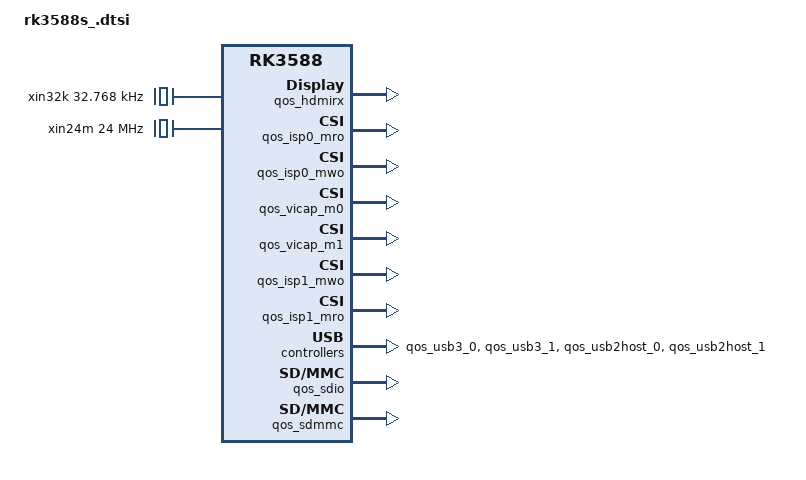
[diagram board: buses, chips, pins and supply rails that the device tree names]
#include <dt-bindings/clock/rk3588-cru.h>
#include <dt-bindings/interrupt-controller/arm-gic.h>
#include <dt-bindings/interrupt-controller/irq.h>
#include <dt-bindings/phy/phy.h>
#include <dt-bindings/power/rk3588-power.h>
#include <dt-bindings/soc/rockchip,boot-mode.h>
#include <dt-bindings/soc/rockchip-system-status.h>
#include <dt-bindings/suspend/rockchip-rk3588.h>
#include <dt-bindings/thermal/thermal.h>

/ {
	compatible = "rockchip,rk3588";

	interrupt-parent = <&gic>;
	#address-cells = <2>;
	#size-cells = <2>;


	cpus {
		#address-cells = <1>;
		#size-cells = <0>;

		cpu-map {
			cluster0 {
				core0 {
					cpu = <&cpu_l0>;
				};
				core1 {
					cpu = <&cpu_l1>;
				};
				core2 {
					cpu = <&cpu_l2>;
				};
				core3 {
					cpu = <&cpu_l3>;
				};
			};
			cluster1 {
				core0 {
					cpu = <&cpu_b0>;
				};
				core1 {
					cpu = <&cpu_b1>;
				};
			};
			cluster2 {
				core0 {
					cpu = <&cpu_b2>;
				};
				core1 {
					cpu = <&cpu_b3>;
				};
			};
		};

		cpu_l0: cpu@0 {
			device_type = "cpu";
			compatible = "arm,cortex-a55";
			reg = <0x0>;
			enable-method = "psci";
			capacity-dmips-mhz = <530>;
			clocks = <&scmi_clk SCMI_CLK_CPUL>;
			//operating-points-v2 = <&cluster0_opp_table>;
			cpu-idle-states = <&CPU_SLEEP>;
			i-cache-size = <32768>;
			i-cache-line-size = <64>;
			i-cache-sets = <128>;
			d-cache-size = <32768>;
			d-cache-line-size = <64>;
			d-cache-sets = <128>;
			next-level-cache = <&l2_cache_l0>;
			#cooling-cells = <2>;
			dynamic-power-coefficient = <100>;
		};

		cpu_l1: cpu@100 {
			device_type = "cpu";
			compatible = "arm,cortex-a55";
			reg = <0x100>;
			enable-method = "psci";
			capacity-dmips-mhz = <530>;
			clocks = <&scmi_clk SCMI_CLK_CPUL>;
			//operating-points-v2 = <&cluster0_opp_table>;
			cpu-idle-states = <&CPU_SLEEP>;
			i-cache-size = <32768>;
			i-cache-line-size = <64>;
			i-cache-sets = <128>;
			d-cache-size = <32768>;
			d-cache-line-size = <64>;
			d-cache-sets = <128>;
			next-level-cache = <&l2_cache_l1>;
		};

		cpu_l2: cpu@200 {
			device_type = "cpu";
			compatible = "arm,cortex-a55";
			reg = <0x200>;
			enable-method = "psci";
			capacity-dmips-mhz = <530>;
			clocks = <&scmi_clk SCMI_CLK_CPUL>;
			//operating-points-v2 = <&cluster0_opp_table>;
			cpu-idle-states = <&CPU_SLEEP>;
			i-cache-size = <32768>;
			i-cache-line-size = <64>;
			i-cache-sets = <128>;
			d-cache-size = <32768>;
			d-cache-line-size = <64>;
			d-cache-sets = <128>;
			next-level-cache = <&l2_cache_l2>;
		};

		cpu_l3: cpu@300 {
			device_type = "cpu";
			compatible = "arm,cortex-a55";
			reg = <0x300>;
			enable-method = "psci";
			capacity-dmips-mhz = <530>;
			clocks = <&scmi_clk SCMI_CLK_CPUL>;
			//operating-points-v2 = <&cluster0_opp_table>;
			cpu-idle-states = <&CPU_SLEEP>;
			i-cache-size = <32768>;
			i-cache-line-size = <64>;
			i-cache-sets = <128>;
			d-cache-size = <32768>;
			d-cache-line-size = <64>;
			d-cache-sets = <128>;
			next-level-cache = <&l2_cache_l3>;
		};

		cpu_b0: cpu@400 {
			device_type = "cpu";
			compatible = "arm,cortex-a76";
			reg = <0x400>;
			enable-method = "psci";
			capacity-dmips-mhz = <1024>;
			clocks = <&scmi_clk SCMI_CLK_CPUB01>;
			//operating-points-v2 = <&cluster1_opp_table>;
			cpu-idle-states = <&CPU_SLEEP>;
			i-cache-size = <65536>;
			i-cache-line-size = <64>;
			i-cache-sets = <256>;
			d-cache-size = <65536>;
			d-cache-line-size = <64>;
			d-cache-sets = <256>;
			next-level-cache = <&l2_cache_b0>;
			#cooling-cells = <2>;
			dynamic-power-coefficient = <300>;
		};

		cpu_b1: cpu@500 {
			device_type = "cpu";
			compatible = "arm,cortex-a76";
			reg = <0x500>;
			enable-method = "psci";
			capacity-dmips-mhz = <1024>;
			clocks = <&scmi_clk SCMI_CLK_CPUB01>;
			//operating-points-v2 = <&cluster1_opp_table>;
			cpu-idle-states = <&CPU_SLEEP>;
			i-cache-size = <65536>;
			i-cache-line-size = <64>;
			i-cache-sets = <256>;
			d-cache-size = <65536>;
			d-cache-line-size = <64>;
			d-cache-sets = <256>;
			next-level-cache = <&l2_cache_b1>;
		};

		cpu_b2: cpu@600 {
			device_type = "cpu";
			compatible = "arm,cortex-a76";
			reg = <0x600>;
			enable-method = "psci";
			capacity-dmips-mhz = <1024>;
			clocks = <&scmi_clk SCMI_CLK_CPUB23>;
			//operating-points-v2 = <&cluster2_opp_table>;
			cpu-idle-states = <&CPU_SLEEP>;
			i-cache-size = <65536>;
			i-cache-line-size = <64>;
			i-cache-sets = <256>;
			d-cache-size = <65536>;
			d-cache-line-size = <64>;
			d-cache-sets = <256>;
			next-level-cache = <&l2_cache_b2>;
			#cooling-cells = <2>;
			dynamic-power-coefficient = <300>;
		};

		cpu_b3: cpu@700 {
			device_type = "cpu";
			compatible = "arm,cortex-a76";
			reg = <0x700>;
			enable-method = "psci";
			capacity-dmips-mhz = <1024>;
			clocks = <&scmi_clk SCMI_CLK_CPUB23>;
			//operating-points-v2 = <&cluster2_opp_table>;
			cpu-idle-states = <&CPU_SLEEP>;
			i-cache-size = <65536>;
			i-cache-line-size = <64>;
			i-cache-sets = <256>;
			d-cache-size = <65536>;
			d-cache-line-size = <64>;
			d-cache-sets = <256>;
			next-level-cache = <&l2_cache_b3>;
		};

		idle-states {
			entry-method = "psci";
			CPU_SLEEP: cpu-sleep {
				compatible = "arm,idle-state";
				local-timer-stop;
				arm,psci-suspend-param = <0x0010000>;
				entry-latency-us = <100>;
				exit-latency-us = <120>;
				min-residency-us = <1000>;
			};
		};

		l2_cache_l0: l2-cache-l0 {
			compatible = "cache";
			cache-size = <131072>;
			cache-line-size = <64>;
			cache-sets = <512>;
			next-level-cache = <&l3_cache>;
		};

		l2_cache_l1: l2-cache-l1 {
			compatible = "cache";
			cache-size = <131072>;
			cache-line-size = <64>;
			cache-sets = <512>;
			next-level-cache = <&l3_cache>;
		};

		l2_cache_l2: l2-cache-l2 {
			compatible = "cache";
			cache-size = <131072>;
			cache-line-size = <64>;
			cache-sets = <512>;
			next-level-cache = <&l3_cache>;
		};

		l2_cache_l3: l2-cache-l3 {
			compatible = "cache";
			cache-size = <131072>;
			cache-line-size = <64>;
			cache-sets = <512>;
			next-level-cache = <&l3_cache>;
		};

		l2_cache_b0: l2-cache-b0 {
			compatible = "cache";
			cache-size = <524288>;
			cache-line-size = <64>;
			cache-sets = <1024>;
			next-level-cache = <&l3_cache>;
		};

		l2_cache_b1: l2-cache-b1 {
			compatible = "cache";
			cache-size = <524288>;
			cache-line-size = <64>;
			cache-sets = <1024>;
			next-level-cache = <&l3_cache>;
		};

		l2_cache_b2: l2-cache-b2 {
			compatible = "cache";
			cache-size = <524288>;
			cache-line-size = <64>;
			cache-sets = <1024>;
			next-level-cache = <&l3_cache>;
		};

		l2_cache_b3: l2-cache-b3 {
			compatible = "cache";
			cache-size = <524288>;
			cache-line-size = <64>;
			cache-sets = <1024>;
			next-level-cache = <&l3_cache>;
		};

		l3_cache: l3-cache {
			compatible = "cache";
			cache-size = <3145728>;
			cache-line-size = <64>;
			cache-sets = <4096>;
		};
	};

	clocks {
		compatible = "simple-bus";
		#address-cells = <2>;
		#size-cells = <2>;
		ranges;

		spll: spll {
			compatible = "fixed-clock";
			#clock-cells = <0>;
			clock-frequency = <702000000>;
			clock-output-names = "spll";
		};

		xin32k: xin32k {
			compatible = "fixed-clock";
			#clock-cells = <0>;
			clock-frequency = <32768>;
			clock-output-names = "xin32k";
		};

		xin24m: xin24m {
			compatible = "fixed-clock";
			#clock-cells = <0>;
			clock-frequency = <24000000>;
			clock-output-names = "xin24m";
		};

		//hclk_vo1: hclk_vo1@fd7c08ec {
		//	compatible = "rockchip,rk3588-clock-gate-link";
		//	reg = <0 0xfd7c08ec 0 0x10>;
		//	clock-names = "link";
		//	clocks = <&cru HCLK_VO1USB_TOP_ROOT>;
		//	#power-domain-cells = <1>;
		//	#clock-cells = <0>;
		//};
		//
		//hclk_vo0: hclk_vo0@fd7c08dc {
		//	compatible = "rockchip,rk3588-clock-gate-link";
		//	reg = <0 0xfd7c08dc 0 0x10>;
		//	clock-names = "link";
		//	clocks = <&cru HCLK_VOP_ROOT>;
		//	#power-domain-cells = <1>;
		//	#clock-cells = <0>;
		//};
		//
		//aclk_hdcp0_pre: aclk_hdcp0_pre@fd7c08dc {
		//	compatible = "rockchip,rk3588-clock-gate-link";
		//	reg = <0 0xfd7c08dc 0 0x10>;
		//	clock-names = "link";
		//	clocks = <&cru ACLK_VOP_LOW_ROOT>;
		//	#power-domain-cells = <1>;
		//	#clock-cells = <0>;
		//};
		//
		//aclk_hdcp1_pre: aclk_hdcp1_pre@fd7c08ec {
		//	compatible = "rockchip,rk3588-clock-gate-link";
		//	reg = <0 0xfd7c08ec 0 0x10>;
		//	clock-names = "link";
		//	clocks = <&cru ACLK_VO1USB_TOP_ROOT>;
		//	#power-domain-cells = <1>;
		//	#clock-cells = <0>;
		//};
	};

	timer {
		compatible = "arm,armv8-timer";
		interrupts = <GIC_PPI 13 (GIC_CPU_MASK_SIMPLE(4) | IRQ_TYPE_LEVEL_HIGH)>,
			     <GIC_PPI 14 (GIC_CPU_MASK_SIMPLE(4) | IRQ_TYPE_LEVEL_HIGH)>,
			     <GIC_PPI 11 (GIC_CPU_MASK_SIMPLE(4) | IRQ_TYPE_LEVEL_HIGH)>,
			     <GIC_PPI 10 (GIC_CPU_MASK_SIMPLE(4) | IRQ_TYPE_LEVEL_HIGH)>;
	};

//	rktimer: timer@feae0000 {
//		compatible = "rockchip,rk3588-timer", "rockchip,rk3288-timer";
//		reg = <0x0 0xfeae0000 0x0 0x20>;
//		interrupts = <GIC_SPI 289 IRQ_TYPE_LEVEL_HIGH>;
//		clocks = <&cru PCLK_BUSTIMER0>, <&cru CLK_BUSTIMER0>;
//		clock-names = "pclk", "timer";
//	};

	psci {
		compatible = "arm,psci-1.0";
		method = "smc";
	};

	sram@10f000 {
		compatible = "mmio-sram";
		reg = <0x0 0x0010f000 0x0 0x100>;
		#address-cells = <1>;
		#size-cells = <1>;
		ranges = <0 0x0 0x0010f000 0x100>;

		scmi_shmem: sram@0 {
			compatible = "arm,scmi-shmem";
			reg = <0x0 0x100>;
		};
	};

	firmware {
		scmi: scmi {
			compatible = "arm,scmi-smc";
			shmem = <&scmi_shmem>;
			arm,smc-id = <0x82000010>;
			#address-cells = <1>;
			#size-cells = <0>;

			scmi_clk: protocol@14 {
				reg = <0x14>;
				#clock-cells = <1>;

				assigned-clocks = <&scmi_clk SCMI_CLK_CPUL>,
						  <&scmi_clk SCMI_CLK_CPUB01>,
						  <&scmi_clk SCMI_CLK_CPUB23>;
				assigned-clock-rates = <816000000>,
						       <816000000>,
						       <816000000>;
			};

			scmi_reset: protocol@16 {
				reg = <0x16>;
				#reset-cells = <1>;
			};
		};

		sdei: sdei {
			compatible = "arm,sdei-1.0";
			method = "smc";
		};
	};

	ioc: syscon@fd5f0000 {
		compatible = "rockchip,rk3588-ioc", "syscon";
		reg = <0x0 0xfd5f0000 0x0 0x10000>;
	};

	php_grf: syscon@fd5b0000 {
		compatible = "rockchip,rk3588-php-grf", "syscon";
		reg = <0x0 0xfd5b0000 0x0 0x1000>;
	};

	qos_npu0_mwr: qos@fdf72000 {
		compatible = "syscon";
		reg = <0x0 0xfdf72000 0x0 0x20>;
	};
	qos_npu0_mro: qos@fdf72200 {
		compatible = "syscon";
		reg = <0x0 0xfdf72200 0x0 0x20>;
	};
	qos_mcu_npu: qos@fdf72400 {
		compatible = "syscon";
		reg = <0x0 0xfdf72400 0x0 0x20>;
	};
	qos_npu1: qos@fdf70000 {
		compatible = "syscon";
		reg = <0x0 0xfdf70000 0x0 0x20>;
	};
	qos_npu2: qos@fdf71000 {
		compatible = "syscon";
		reg = <0x0 0xfdf71000 0x0 0x20>;
	};
	qos_gpu_m0: qos@fdf35000 {
		compatible = "syscon";
		reg = <0x0 0xfdf35000 0x0 0x20>;
	};
	qos_gpu_m1: qos@fdf35200 {
		compatible = "syscon";
		reg = <0x0 0xfdf35200 0x0 0x20>;
	};
	qos_gpu_m2: qos@fdf35400 {
		compatible = "syscon";
		reg = <0x0 0xfdf35400 0x0 0x20>;
	};
	qos_gpu_m3: qos@fdf35600 {
		compatible = "syscon";
		reg = <0x0 0xfdf35600 0x0 0x20>;
	};
	qos_rkvdec0: qos@fdf62000 {
		compatible = "syscon";
		reg = <0x0 0xfdf62000 0x0 0x20>;
	};
	qos_rkvdec1: qos@fdf63000 {
		compatible = "syscon";
		reg = <0x0 0xfdf63000 0x0 0x20>;
	};
	qos_rkvenc0_m0ro: qos@fdf60000 {
		compatible = "syscon";
		reg = <0x0 0xfdf60000 0x0 0x20>;
	};
	qos_rkvenc0_m1ro: qos@fdf60200 {
		compatible = "syscon";
		reg = <0x0 0xfdf60200 0x0 0x20>;
	};
	qos_rkvenc0_m2wo: qos@fdf60400 {
		compatible = "syscon";
		reg = <0x0 0xfdf60400 0x0 0x20>;
	};
	qos_rkvenc1_m0ro: qos@fdf61000 {
		compatible = "syscon";
		reg = <0x0 0xfdf61000 0x0 0x20>;
	};
	qos_rkvenc1_m1ro: qos@fdf61200 {
		compatible = "syscon";
		reg = <0x0 0xfdf61200 0x0 0x20>;
	};
	qos_rkvenc1_m2wo: qos@fdf61400 {
		compatible = "syscon";
		reg = <0x0 0xfdf61400 0x0 0x20>;
	};
	qos_iep: qos@fdf66000 {
		compatible = "syscon";
		reg = <0x0 0xfdf66000 0x0 0x20>;
	};
	qos_jpeg_dec: qos@fdf66200 {
		compatible = "syscon";
		reg = <0x0 0xfdf66200 0x0 0x20>;
	};
	qos_jpeg_enc0: qos@fdf66400 {
		compatible = "syscon";
		reg = <0x0 0xfdf66400 0x0 0x20>;
	};
	qos_jpeg_enc1: qos@fdf66600 {
		compatible = "syscon";
		reg = <0x0 0xfdf66600 0x0 0x20>;
	};
	qos_jpeg_enc2: qos@fdf66800 {
		compatible = "syscon";
		reg = <0x0 0xfdf66800 0x0 0x20>;
	};
	qos_jpeg_enc3: qos@fdf66a00 {
		compatible = "syscon";
		reg = <0x0 0xfdf66a00 0x0 0x20>;
	};
	qos_rga2_mro: qos@fdf66c00 {
		compatible = "syscon";
		reg = <0x0 0xfdf66c00 0x0 0x20>;
	};
	qos_rga2_mwo: qos@fdf66e00 {
		compatible = "syscon";
		reg = <0x0 0xfdf66e00 0x0 0x20>;
	};
	qos_av1: qos@fdf64000 {
		compatible = "syscon";
		reg = <0x0 0xfdf64000 0x0 0x20>;
	};
	qos_rga3_0: qos@fdf67000 {
		compatible = "syscon";
		reg = <0x0 0xfdf67000 0x0 0x20>;
	};
	qos_vop_m0: qos@fdf82000 {
		compatible = "syscon";
		reg = <0x0 0xfdf82000 0x0 0x20>;
	};
	qos_vop_m1: qos@fdf82200 {
		compatible = "syscon";
		reg = <0x0 0xfdf82200 0x0 0x20>;
	};
	qos_hdcp0: qos@fdf80000 {
		compatible = "syscon";
		reg = <0x0 0xfdf80000 0x0 0x20>;
	};
	qos_hdcp1: qos@fdf81000 {
		compatible = "syscon";
		reg = <0x0 0xfdf81000 0x0 0x20>;
	};
	qos_hdmirx: qos@fdf81200 {
		compatible = "syscon";
		reg = <0x0 0xfdf81200 0x0 0x20>;
	};
	qos_isp0_mro: qos@fdf40400 {
		compatible = "syscon";
		reg = <0x0 0xfdf40400 0x0 0x20>;
	};
	qos_isp0_mwo: qos@fdf40500 {
		compatible = "syscon";
		reg = <0x0 0xfdf40500 0x0 0x20>;
	};
	qos_vicap_m0: qos@fdf40600 {
		compatible = "syscon";
		reg = <0x0 0xfdf40600 0x0 0x20>;
	};
	qos_vicap_m1: qos@fdf40800 {
		compatible = "syscon";
		reg = <0x0 0xfdf40800 0x0 0x20>;
	};
	qos_isp1_mwo: qos@fdf41000 {
		compatible = "syscon";
		reg = <0x0 0xfdf41000 0x0 0x20>;
	};
	qos_isp1_mro: qos@fdf41100 {
		compatible = "syscon";
		reg = <0x0 0xfdf41100 0x0 0x20>;
	};
	qos_fisheye0: qos@fdf40000 {
		compatible = "syscon";
		reg = <0x0 0xfdf40000 0x0 0x20>;
	};
	qos_fisheye1: qos@fdf40200 {
		compatible = "syscon";
		reg = <0x0 0xfdf40200 0x0 0x20>;
	};
	qos_rga3_1: qos@fdf36000 {
		compatible = "syscon";
		reg = <0x0 0xfdf36000 0x0 0x20>;
	};
	qos_usb3_0: qos@fdf3e200 {
		compatible = "syscon";
		reg = <0x0 0xfdf3e200 0x0 0x20>;
	};
	qos_usb3_1: qos@fdf3e000 {
		compatible = "syscon";
		reg = <0x0 0xfdf3e000 0x0 0x20>;
	};
	qos_usb2host_0: qos@fdf3e400 {
		compatible = "syscon";
		reg = <0x0 0xfdf3e400 0x0 0x20>;
	};
	qos_usb2host_1: qos@fdf3e600 {
		compatible = "syscon";
		reg = <0x0 0xfdf3e600 0x0 0x20>;
	};
	qos_sdio: qos@fdf39000 {
		compatible = "syscon";
		reg = <0x0 0xfdf39000 0x0 0x20>;
	};
	qos_sdmmc: qos@fdf3d800 {
		compatible = "syscon";
		reg = <0x0 0xfdf3d800 0x0 0x20>;
	};

	gic: interrupt-controller@fe600000 {
		compatible = "arm,gic-v3";
		#interrupt-cells = <3>;
		#address-cells = <2>;
		#size-cells = <2>;
		ranges;
		interrupt-controller;

		reg = <0x0 0xfe600000 0 0x10000>, /* GICD */
		      <0x0 0xfe680000 0 0x100000>; /* GICR */
		interrupts = <GIC_PPI 9 IRQ_TYPE_LEVEL_HIGH>;
		its0: msi-controller@fe640000 {
			compatible = "arm,gic-v3-its";
			msi-controller;
			#msi-cells = <1>;
			reg = <0x0 0xfe640000 0x0 0x20000>;
		};
		its1: msi-controller@fe660000 {
			compatible = "arm,gic-v3-its";
			msi-controller;
			#msi-cells = <1>;
			reg = <0x0 0xfe660000 0x0 0x20000>;
		};
	};

	cru: clock-controller@fd7c0000 {
		compatible = "rockchip,rk3588-cru";
		reg = <0x0 0xfd7c0000 0x0 0x5c000>;
		rockchip,grf = <&php_grf>;
		#clock-cells = <1>;
		#reset-cells = <1>;

		assigned-clocks =
			<&cru PLL_PPLL>, <&cru PLL_AUPLL>,
			<&cru PLL_NPLL>, <&cru PLL_GPLL>,
			<&cru ACLK_CENTER_ROOT>,
			<&cru HCLK_CENTER_ROOT>, <&cru ACLK_CENTER_LOW_ROOT>,
			<&cru ACLK_TOP_ROOT>, <&cru PCLK_TOP_ROOT>,
			<&cru ACLK_LOW_TOP_ROOT>, <&cru PCLK_PMU0_ROOT>,
			<&cru HCLK_PMU_CM0_ROOT>, <&cru ACLK_VOP>,
			<&cru ACLK_BUS_ROOT>, <&cru CLK_150M_SRC>,
			<&cru CLK_GPU>;
		assigned-clock-rates =
			<1104000000>, <786432000>,
			<850000000>, <1188000000>,
			<702000000>,
			<400000000>, <500000000>,
			<800000000>, <100000000>,
			<400000000>, <100000000>,
			<200000000>, <500000000>,
			<375000000>, <150000000>,
			<200000000>;
	};

	pmu: power-management@fd8d8000 {
		compatible = "rockchip,rk3588-pmu", "syscon", "simple-mfd";
		reg = <0x0 0xfd8d8000 0x0 0x400>;

		power: power-controller {
			compatible = "rockchip,rk3588-power-controller";
			#power-domain-cells = <1>;
			#address-cells = <1>;
			#size-cells = <0>;
			status = "okay";

			/* These power domains are grouped by VD_NPU */
			power-domain@RK3588_PD_NPU {
				reg = <RK3588_PD_NPU>;
				#address-cells = <1>;
				#size-cells = <0>;

				power-domain@RK3588_PD_NPUTOP {
					reg = <RK3588_PD_NPUTOP>;
					#address-cells = <1>;
					#size-cells = <0>;
					clocks = <&cru HCLK_NPU_ROOT>,
						 <&cru PCLK_NPU_ROOT>,
						 <&cru CLK_NPU_DSU0>,
						 <&cru HCLK_NPU_CM0_ROOT>;
					pm_qos = <&qos_npu0_mwr>,
						 <&qos_npu0_mro>,
						 <&qos_mcu_npu>;

					power-domain@RK3588_PD_NPU1 {
						reg = <RK3588_PD_NPU1>;
						clocks = <&cru HCLK_NPU_ROOT>,
							 <&cru PCLK_NPU_ROOT>,
							 <&cru CLK_NPU_DSU0>;
						pm_qos = <&qos_npu1>;
					};
					power-domain@RK3588_PD_NPU2 {
						reg = <RK3588_PD_NPU2>;
						clocks = <&cru HCLK_NPU_ROOT>,
							 <&cru PCLK_NPU_ROOT>,
							 <&cru CLK_NPU_DSU0>;
						pm_qos = <&qos_npu2>;
					};
				};
			};
			/* These power domains are grouped by VD_GPU */
			power-domain@RK3588_PD_GPU {
				reg = <RK3588_PD_GPU>;
				clocks = <&cru CLK_GPU>,
					 <&cru CLK_GPU_COREGROUP>,
					 <&cru CLK_GPU_STACKS>;
				pm_qos = <&qos_gpu_m0>,
					 <&qos_gpu_m1>,
					 <&qos_gpu_m2>,
					 <&qos_gpu_m3>;
			};
			/* These power domains are grouped by VD_VCODEC */
			power-domain@RK3588_PD_VCODEC {
				reg = <RK3588_PD_VCODEC>;
				#address-cells = <1>;
				#size-cells = <0>;

				power-domain@RK3588_PD_RKVDEC0 {
					reg = <RK3588_PD_RKVDEC0>;
					clocks = <&cru HCLK_RKVDEC0>,
						 <&cru HCLK_VDPU_ROOT>,
						 <&cru ACLK_VDPU_ROOT>,
						 <&cru ACLK_RKVDEC0>,
						 <&cru ACLK_RKVDEC_CCU>;
					pm_qos = <&qos_rkvdec0>;
				};
				power-domain@RK3588_PD_RKVDEC1 {
					reg = <RK3588_PD_RKVDEC1>;
					clocks = <&cru HCLK_RKVDEC1>,
						 <&cru HCLK_VDPU_ROOT>,
						 <&cru ACLK_VDPU_ROOT>,
						 <&cru ACLK_RKVDEC1>;
					pm_qos = <&qos_rkvdec1>;
				};
				power-domain@RK3588_PD_VENC0 {
					reg = <RK3588_PD_VENC0>;
					#address-cells = <1>;
					#size-cells = <0>;
					clocks = <&cru HCLK_RKVENC0>,
						 <&cru ACLK_RKVENC0>;
					pm_qos = <&qos_rkvenc0_m0ro>,
						 <&qos_rkvenc0_m1ro>,
						 <&qos_rkvenc0_m2wo>;

					power-domain@RK3588_PD_VENC1 {
						reg = <RK3588_PD_VENC1>;
						clocks = <&cru HCLK_RKVENC1>,
							 <&cru HCLK_RKVENC0>,
							 <&cru ACLK_RKVENC0>,
							 <&cru ACLK_RKVENC1>;
						pm_qos = <&qos_rkvenc1_m0ro>,
							 <&qos_rkvenc1_m1ro>,
							 <&qos_rkvenc1_m2wo>;
					};
				};
			};
			/* These power domains are grouped by VD_LOGIC */
			power-domain@RK3588_PD_VDPU {
				reg = <RK3588_PD_VDPU>;
				#address-cells = <1>;
				#size-cells = <0>;
				clocks = <&cru HCLK_VDPU_ROOT>,
					 <&cru ACLK_VDPU_LOW_ROOT>,
					 <&cru ACLK_VDPU_ROOT>,
					 <&cru ACLK_JPEG_DECODER_ROOT>,
					 <&cru ACLK_IEP2P0>,
					 <&cru HCLK_IEP2P0>,
					 <&cru ACLK_JPEG_ENCODER0>,
					 <&cru HCLK_JPEG_ENCODER0>,
					 <&cru ACLK_JPEG_ENCODER1>,
					 <&cru HCLK_JPEG_ENCODER1>,
					 <&cru ACLK_JPEG_ENCODER2>,
					 <&cru HCLK_JPEG_ENCODER2>,
					 <&cru ACLK_JPEG_ENCODER3>,
					 <&cru HCLK_JPEG_ENCODER3>,
					 <&cru ACLK_JPEG_DECODER>,
					 <&cru HCLK_JPEG_DECODER>,
					 <&cru ACLK_RGA2>,
					 <&cru HCLK_RGA2>;
				pm_qos = <&qos_iep>,
					 <&qos_jpeg_dec>,
					 <&qos_jpeg_enc0>,
					 <&qos_jpeg_enc1>,
					 <&qos_jpeg_enc2>,
					 <&qos_jpeg_enc3>,
					 <&qos_rga2_mro>,
					 <&qos_rga2_mwo>;

				power-domain@RK3588_PD_AV1 {
					reg = <RK3588_PD_AV1>;
					clocks = <&cru PCLK_AV1>,
						 <&cru ACLK_AV1>,
						 <&cru HCLK_VDPU_ROOT>;
					pm_qos = <&qos_av1>;
				};
				power-domain@RK3588_PD_RKVDEC0 {
					reg = <RK3588_PD_RKVDEC0>;
					clocks = <&cru HCLK_RKVDEC0>,
						 <&cru HCLK_VDPU_ROOT>,
						 <&cru ACLK_VDPU_ROOT>,
						 <&cru ACLK_RKVDEC0>;
					pm_qos = <&qos_rkvdec0>;
				};
				power-domain@RK3588_PD_RKVDEC1 {
					reg = <RK3588_PD_RKVDEC1>;
					clocks = <&cru HCLK_RKVDEC1>,
						 <&cru HCLK_VDPU_ROOT>,
						 <&cru ACLK_VDPU_ROOT>;
					pm_qos = <&qos_rkvdec1>;
				};
				power-domain@RK3588_PD_RGA30 {
					reg = <RK3588_PD_RGA30>;
					clocks = <&cru ACLK_RGA3_0>,
						 <&cru HCLK_RGA3_0>;
					pm_qos = <&qos_rga3_0>;
				};
			};
			//power-domain@RK3588_PD_VOP {
			//	reg = <RK3588_PD_VOP>;
			//	#address-cells = <1>;
			//	#size-cells = <0>;
			//	clocks = <&cru PCLK_VOP_ROOT>,
			//		 <&cru HCLK_VOP_ROOT>,
			//		 <&cru ACLK_VOP>;
			//	pm_qos = <&qos_vop_m0>,
			//		 <&qos_vop_m1>;
			//
			//	power-domain@RK3588_PD_VO0 {
			//		reg = <RK3588_PD_VO0>;
			//		clocks = <&cru PCLK_VO0_ROOT>,
			//			 <&cru PCLK_VO0_S_ROOT>,
			//			 <&cru HCLK_VO0_S_ROOT>,
			//			 <&cru ACLK_VO0_ROOT>,
			//			 <&cru HCLK_HDCP0>,
			//			 <&cru ACLK_HDCP0>,
			//			 <&cru HCLK_VOP_ROOT>;
			//		pm_qos = <&qos_hdcp0>;
			//	};
			//};
			//power-domain@RK3588_PD_VO1 {
			//	reg = <RK3588_PD_VO1>;
			//	clocks = <&cru PCLK_VO1_ROOT>,
			//		 <&cru PCLK_VO1_S_ROOT>,
			//		 <&cru HCLK_VO1_S_ROOT>,
			//		 <&cru HCLK_HDCP1>,
			//		 <&cru ACLK_HDCP1>,
			//		 <&cru ACLK_HDMIRX_ROOT>,
			//		 <&cru HCLK_VO1USB_TOP_ROOT>;
			//	pm_qos = <&qos_hdcp1>,
			//		 <&qos_hdmirx>;
			//};
			power-domain@RK3588_PD_VI {
				reg = <RK3588_PD_VI>;
				#address-cells = <1>;
				#size-cells = <0>;
				clocks = <&cru HCLK_VI_ROOT>,
					 <&cru PCLK_VI_ROOT>,
					 <&cru HCLK_ISP0>,
					 <&cru ACLK_ISP0>,
					 <&cru HCLK_VICAP>,
					 <&cru ACLK_VICAP>;
				pm_qos = <&qos_isp0_mro>,
					 <&qos_isp0_mwo>,
					 <&qos_vicap_m0>,
					 <&qos_vicap_m1>;

				power-domain@RK3588_PD_ISP1 {
					reg = <RK3588_PD_ISP1>;
					clocks = <&cru HCLK_ISP1>,
						 <&cru ACLK_ISP1>,
						 <&cru HCLK_VI_ROOT>,
						 <&cru PCLK_VI_ROOT>;
					pm_qos = <&qos_isp1_mwo>,
						 <&qos_isp1_mro>;
				};
				power-domain@RK3588_PD_FEC {
					reg = <RK3588_PD_FEC>;
					clocks = <&cru HCLK_FISHEYE0>,
						 <&cru ACLK_FISHEYE0>,
						 <&cru HCLK_FISHEYE1>,
						 <&cru ACLK_FISHEYE1>,
						 <&cru PCLK_VI_ROOT>;
					pm_qos = <&qos_fisheye0>,
						 <&qos_fisheye1>;
				};
			};
			power-domain@RK3588_PD_RGA31 {
				reg = <RK3588_PD_RGA31>;
				clocks = <&cru HCLK_RGA3_1>,
					 <&cru ACLK_RGA3_1>;
				pm_qos = <&qos_rga3_1>;
			};
			power-domain@RK3588_PD_USB {
				reg = <RK3588_PD_USB>;
				clocks = <&cru PCLK_PHP_ROOT>,
					 <&cru ACLK_USB_ROOT>,
					 <&cru HCLK_USB_ROOT>,
					 <&cru HCLK_HOST0>,
					 <&cru HCLK_HOST_ARB0>,
					 <&cru HCLK_HOST1>,
					 <&cru HCLK_HOST_ARB1>;
				pm_qos = <&qos_usb3_0>,
					 <&qos_usb3_1>,
					 <&qos_usb2host_0>,
					 <&qos_usb2host_1>;
			};
			power-domain@RK3588_PD_GMAC {
				reg = <RK3588_PD_GMAC>;
				clocks = <&cru PCLK_PHP_ROOT>,
					 <&cru ACLK_PCIE_ROOT>,
					 <&cru ACLK_PHP_ROOT>;
			};
			power-domain@RK3588_PD_PCIE {
				reg = <RK3588_PD_PCIE>;
				clocks = <&cru PCLK_PHP_ROOT>,
					 <&cru ACLK_PCIE_ROOT>,
					 <&cru ACLK_PHP_ROOT>;
			};
			power-domain@RK3588_PD_SDIO {
				reg = <RK3588_PD_SDIO>;
				clocks = <&cru HCLK_SDIO>,
					 <&cru HCLK_NVM_ROOT>;
				pm_qos = <&qos_sdio>;
			};
			power-domain@RK3588_PD_AUDIO {
				reg = <RK3588_PD_AUDIO>;
				clocks = <&cru HCLK_AUDIO_ROOT>,
					 <&cru PCLK_AUDIO_ROOT>;
			};
			power-domain@RK3588_PD_SDMMC {
				reg = <RK3588_PD_SDMMC>;
				pm_qos = <&qos_sdmmc>;
			};
		};
	};

	uart2: serial@feb50000 {
		compatible = "rockchip,rk3588-uart", "snps,dw-apb-uart";
		reg = <0x0 0xfeb50000 0x0 0x100>;
		interrupts = <GIC_SPI 333 IRQ_TYPE_LEVEL_HIGH>;
		clocks = <&cru SCLK_UART2>, <&cru PCLK_UART2>;
		clock-names = "baudclk", "apb_pclk";
		reg-shift = <2>;
		reg-io-width = <4>;
//		dmas = <&dmac0 10>, <&dmac0 11>;
		pinctrl-names = "default";
		pinctrl-0 = <&uart2m1_xfer>;
		status = "disabled";
	};

	sdmmc: mmc@fe2c0000 {
		compatible = "rockchip,rk3588-dw-mshc", "rockchip,rk3288-dw-mshc";
		reg = <0x0 0xfe2c0000 0x0 0x4000>;
		interrupts = <GIC_SPI 203 IRQ_TYPE_LEVEL_HIGH>;
		clocks = <&scmi_clk SCMI_HCLK_SD>, <&scmi_clk SCMI_CCLK_SD>,
			 <&cru SCLK_SDMMC_DRV>, <&cru SCLK_SDMMC_SAMPLE>;
		clock-names = "biu", "ciu", "ciu-drive", "ciu-sample";
		fifo-depth = <0x100>;
		max-frequency = <200000000>;
		pinctrl-names = "default";
		pinctrl-0 = <&sdmmc_clk &sdmmc_cmd &sdmmc_det &sdmmc_bus4>;
		power-domains = <&power RK3588_PD_SDMMC>;
		status = "disabled";
	};

	pinctrl: pinctrl {
		compatible = "rockchip,rk3588-pinctrl";
		rockchip,grf = <&ioc>;
		#address-cells = <2>;
		#size-cells = <2>;
		ranges;

		gpio0: gpio@fd8a0000 {
			compatible = "rockchip,gpio-bank";
			reg = <0x0 0xfd8a0000 0x0 0x100>;
			interrupts = <GIC_SPI 277 IRQ_TYPE_LEVEL_HIGH>;
			clocks = <&cru PCLK_GPIO0>, <&cru DBCLK_GPIO0>;

			gpio-controller;
			#gpio-cells = <2>;
			gpio-ranges = <&pinctrl 0 0 32>;
			interrupt-controller;
			#interrupt-cells = <2>;
		};

		gpio1: gpio@fec20000 {
			compatible = "rockchip,gpio-bank";
			reg = <0x0 0xfec20000 0x0 0x100>;
			interrupts = <GIC_SPI 278 IRQ_TYPE_LEVEL_HIGH>;
			clocks = <&cru PCLK_GPIO1>, <&cru DBCLK_GPIO1>;

			gpio-controller;
			#gpio-cells = <2>;
			gpio-ranges = <&pinctrl 0 32 32>;
			interrupt-controller;
			#interrupt-cells = <2>;
		};

		gpio2: gpio@fec30000 {
			compatible = "rockchip,gpio-bank";
			reg = <0x0 0xfec30000 0x0 0x100>;
			interrupts = <GIC_SPI 279 IRQ_TYPE_LEVEL_HIGH>;
			clocks = <&cru PCLK_GPIO2>, <&cru DBCLK_GPIO2>;

			gpio-controller;
			#gpio-cells = <2>;
			gpio-ranges = <&pinctrl 0 64 32>;
			interrupt-controller;
			#interrupt-cells = <2>;
		};

		gpio3: gpio@fec40000 {
			compatible = "rockchip,gpio-bank";
			reg = <0x0 0xfec40000 0x0 0x100>;
			interrupts = <GIC_SPI 280 IRQ_TYPE_LEVEL_HIGH>;
			clocks = <&cru PCLK_GPIO3>, <&cru DBCLK_GPIO3>;

			gpio-controller;
			#gpio-cells = <2>;
			gpio-ranges = <&pinctrl 0 96 32>;
			interrupt-controller;
			#interrupt-cells = <2>;
		};

		gpio4: gpio@fec50000 {
			compatible = "rockchip,gpio-bank";
			reg = <0x0 0xfec50000 0x0 0x100>;
			interrupts = <GIC_SPI 281 IRQ_TYPE_LEVEL_HIGH>;
			clocks = <&cru PCLK_GPIO4>, <&cru DBCLK_GPIO4>;

			gpio-controller;
			#gpio-cells = <2>;
			gpio-ranges = <&pinctrl 0 128 32>;
			interrupt-controller;
			#interrupt-cells = <2>;
		};
	};
};

#include "rk3588s-pinctrl.dtsi"
